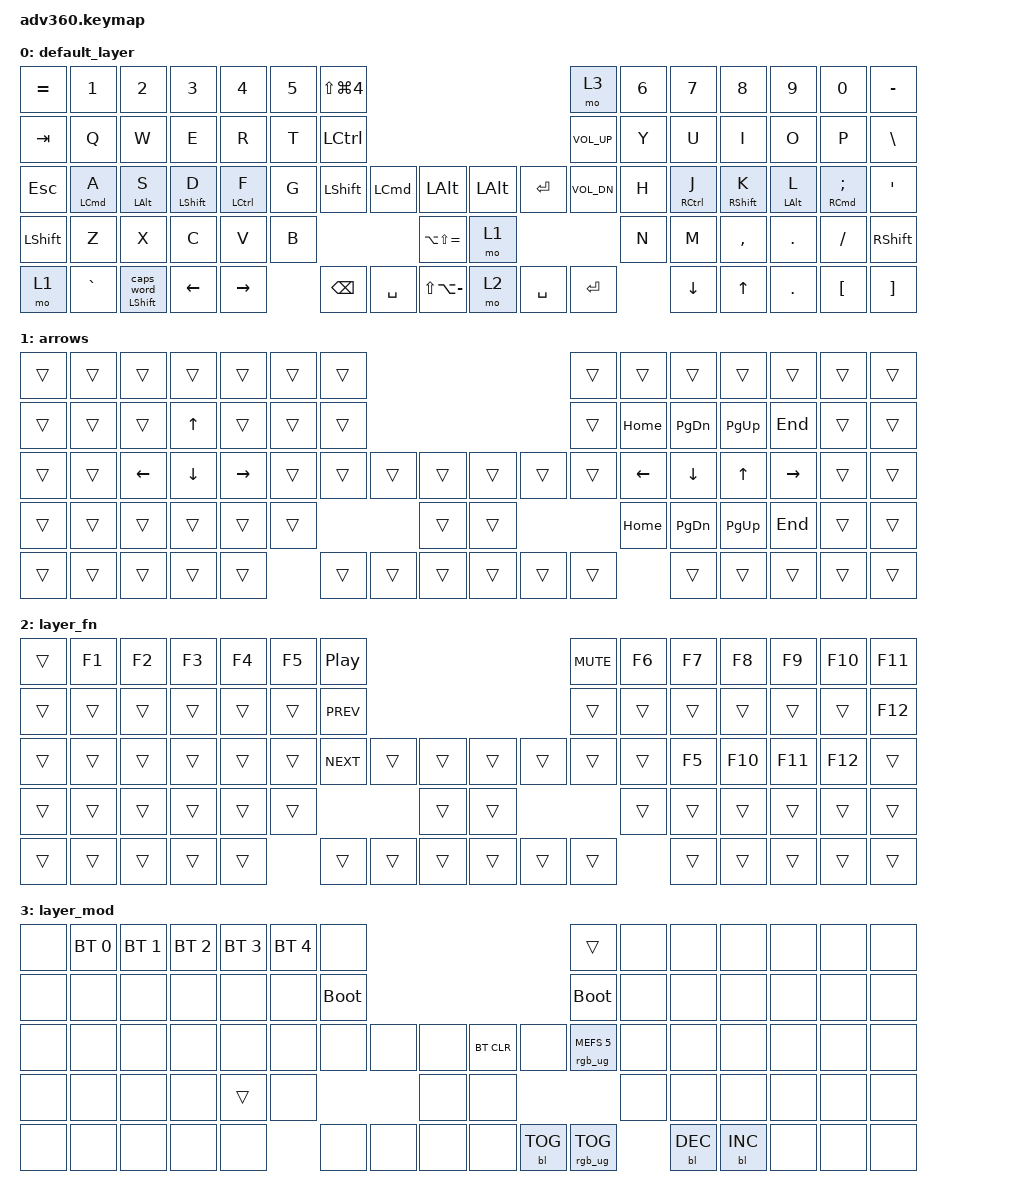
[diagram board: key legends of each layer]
/*
 * Copyright (c) 2020 The ZMK Contributors
 *
 * SPDX-License-Identifier: MIT
 */
/* THIS FILE WAS GENERATED!
 *
 * This file was generated automatically. You may or may not want to
 * edit it directly.
 */

#include <behaviors.dtsi>
#include <dt-bindings/zmk/backlight.h>
#include <dt-bindings/zmk/bt.h>
#include <dt-bindings/zmk/keys.h>
#include <dt-bindings/zmk/rgb.h>

/ {
    behaviors {
        #include "macros.dtsi"
    #include "version.dtsi"

        hm: homerow_mods {
            compatible = "zmk,behavior-hold-tap";
            label = "HOMEROW_MODS";
            #binding-cells = <2>;
            tapping-term-ms = <200>;
            quick_tap_ms = <175>;
            flavor = "tap-preferred";
            bindings = <&kp>, <&kp>;
        };

        hmr: hmr {
            compatible = "zmk,behavior-hold-tap";
            label = "HMR";
            bindings = <&kp>, <&kp>;

            #binding-cells = <2>;
            tapping-term-ms = <200>;
            quick-tap-ms = <200>;
            flavor = "balanced";
            hold-trigger-key-positions = <0 1 2 3 4 5 6 14 15 16 17 18 19 20 28 29 30 31 32 33 34 46 47 48 49 50 51 60 61 62 63 64 66 65>;
            require-prior-idle-ms = <50>;
        };

        hml: hml {
            compatible = "zmk,behavior-hold-tap";
            label = "HML";
            bindings = <&kp>, <&kp>;

            #binding-cells = <2>;
            tapping-term-ms = <200>;
            quick-tap-ms = <200>;
            flavor = "balanced";
            hold-trigger-key-positions = <7 8 9 10 11 12 13 21 22 23 24 25 26 27 39 40 41 42 43 44 45 54 55 56 57 58 59 71 72 73 74 75 70 69>;
            require-prior-idle-ms = <50>;
        };

        caps: caps {
            compatible = "zmk,behavior-hold-tap";
            label = "CAPS";
            bindings = <&kp>, <&caps_word>;

            #binding-cells = <2>;
            tapping-term-ms = <125>;
            flavor = "balanced";
        };

        ht: ht {
            compatible = "zmk,behavior-hold-tap";
            label = "HT";
            bindings = <&kp>, <&kp>;

            #binding-cells = <2>;
            tapping-term-ms = <200>;
            hold-while-undecided;
            quick-tap-ms = <200>;
        };

        shift_caps: shift_caps {
            compatible = "zmk,behavior-hold-tap";
            label = "SHIFT_CAPS";
            bindings = <&kp>, <&caps_word>;

            #binding-cells = <2>;
            tapping-term-ms = <150>;
            flavor = "hold-preferred";
            hold-while-undecided;
        };
    };

    combos {
        compatible = "zmk,combos";

        combo_left_bracket {
            bindings = <&kp LEFT_BRACKET>;
            key-positions = <18 17>;
            slow-release;
            timeout-ms = <25>;
            require-prior-idle-ms = <50>;
        };

        combo_left_paren {
            bindings = <&kp LEFT_PARENTHESIS>;
            key-positions = <32 31>;
            slow-release;
            timeout-ms = <25>;
            require-prior-idle-ms = <50>;
        };

        combo_left_brace {
            bindings = <&kp LEFT_BRACE>;
            key-positions = <50 49>;
            slow-release;
            timeout-ms = <25>;
            require-prior-idle-ms = <50>;
        };

        combo_right_bracket {
            bindings = <&kp RIGHT_BRACKET>;
            key-positions = <23 24>;
            slow-release;
            timeout-ms = <25>;
            require-prior-idle-ms = <50>;
        };

        combo_right_paren {
            bindings = <&kp RIGHT_PARENTHESIS>;
            key-positions = <41 42>;
            slow-release;
            timeout-ms = <25>;
        };

        combo_right_brace {
            bindings = <&kp RIGHT_BRACE>;
            key-positions = <55 56>;
            slow-release;
            timeout-ms = <25>;
            require-prior-idle-ms = <50>;
        };

        combo_erb {
            bindings = <&macro_erb>;
            key-positions = <56 57>;
            slow-release;
            timeout-ms = <25>;
            require-prior-idle-ms = <50>;
        };

        combo_underscore_right {
            bindings = <&kp UNDERSCORE>;
            key-positions = <42 43>;
            slow-release;
            timeout-ms = <25>;
            require-prior-idle-ms = <50>;
        };

        combo_equals {
            bindings = <&kp EQUAL>;
            key-positions = <31 30>;
            slow-release;
            timeout-ms = <25>;
            require-prior-idle-ms = <50>;
        };
    };

    macros {
        macro_erb: macro_erb {
            compatible = "zmk,behavior-macro";
            #binding-cells = <0>;
            bindings = <&kp LT &kp PRCNT &kp SPACE &kp PRCNT &kp GT &kp LEFT &kp LEFT &kp LEFT>;
            label = "MACRO_ERB";
            wait-ms = <5>;
            tap-ms = <10>;
        };
    };

    keymap {
        compatible = "zmk,keymap";

        default_layer {
            bindings = <
&kp EQUAL       &kp N1       &kp N2                    &kp N3        &kp N4        &kp N5  &kp LS(LG(NUMBER_4))                                                             &mo 3            &kp N6  &kp N7        &kp N8         &kp N9       &kp N0            &kp MINUS
&kp TAB         &kp Q        &kp W                     &kp E         &kp R         &kp T   &kp LCTRL                                                                        &kp C_VOLUME_UP  &kp Y   &kp U         &kp I          &kp O        &kp P             &kp BSLH
&kp ESCAPE      &hml LCMD A  &hml LALT S               &hml LSHFT D  &hml LCTRL F  &kp G   &kp LEFT_SHIFT        &kp LCMD   &kp LEFT_ALT           &kp LEFT_ALT  &kp ENTER  &kp C_VOL_DN     &kp H   &hmr RCTRL J  &hmr RSHIFT K  &hmr LALT L  &hmr RCMD SEMI    &kp SQT
&kp LEFT_SHIFT  &kp Z        &kp X                     &kp C         &kp V         &kp B                                    &kp LA(LS(EQUAL))      &mo 1                                     &kp N   &kp M         &kp COMMA      &kp DOT      &kp FSLH          &kp RIGHT_SHIFT
&mo 1           &kp GRAVE    &shift_caps LEFT_SHIFT 0  &kp LEFT      &kp RIGHT             &kp BACKSPACE         &kp SPACE  &kp LS(LA(MINUS))      &mo 2         &kp SPACE  &kp ENTER                &kp DOWN      &kp UP         &kp PERIOD   &kp LEFT_BRACKET  &kp RIGHT_BRACKET
            >;
        };

        arrows {
            bindings = <
&trans  &trans  &trans    &trans        &trans     &trans  &trans                                      &trans  &trans    &trans         &trans        &trans     &trans  &trans
&trans  &trans  &trans    &kp UP_ARROW  &trans     &trans  &trans                                      &trans  &kp HOME  &kp PAGE_DOWN  &kp PAGE_UP   &kp END    &trans  &trans
&trans  &trans  &kp LEFT  &kp DOWN      &kp RIGHT  &trans  &trans  &trans  &trans      &trans  &trans  &trans  &kp LEFT  &kp DOWN       &kp UP_ARROW  &kp RIGHT  &trans  &trans
&trans  &trans  &trans    &trans        &trans     &trans                  &trans      &trans                  &kp HOME  &kp PAGE_DOWN  &kp PAGE_UP   &kp END    &trans  &trans
&trans  &trans  &trans    &trans        &trans             &trans  &trans  &trans      &trans  &trans  &trans            &trans         &trans        &trans     &trans  &trans
            >;
        };

        layer_fn {
            bindings = <
&trans  &kp F1  &kp F2  &kp F3  &kp F4  &kp F5  &kp C_PLAY_PAUSE                                      &kp C_MUTE  &kp F6  &kp F7  &kp F8   &kp F9   &kp F10  &kp F11
&trans  &trans  &trans  &trans  &trans  &trans  &kp C_PREV                                            &trans      &trans  &trans  &trans   &trans   &trans   &kp F12
&trans  &trans  &trans  &trans  &trans  &trans  &kp C_NEXT        &trans  &trans      &trans  &trans  &trans      &trans  &kp F5  &kp F10  &kp F11  &kp F12  &trans
&trans  &trans  &trans  &trans  &trans  &trans                            &trans      &trans                      &trans  &trans  &trans   &trans   &trans   &trans
&trans  &trans  &trans  &trans  &trans          &trans            &trans  &trans      &trans  &trans  &trans              &trans  &trans   &trans   &trans   &trans
            >;
        };

        layer_mod {
            bindings = <
&none  &bt BT_SEL 0  &bt BT_SEL 1  &bt BT_SEL 2  &bt BT_SEL 3  &bt BT_SEL 4  &none                                                  &trans                  &none  &none       &none       &none  &none  &none
&none  &none         &none         &none         &none         &none         &bootloader                                            &bootloader             &none  &none       &none       &none  &none  &none
&none  &none         &none         &none         &none         &none         &none        &none  &none      &bt BT_CLR  &none       &rgb_ug RGB_MEFS_CMD 5  &none  &none       &none       &none  &none  &none
&none  &none         &none         &none         &trans        &none                             &none      &none                                           &none  &none       &none       &none  &none  &none
&none  &none         &none         &none         &none                       &none        &none  &none      &none       &bl BL_TOG  &rgb_ug RGB_TOG                &bl BL_DEC  &bl BL_INC  &none  &none  &none
            >;
        };
    };
};
